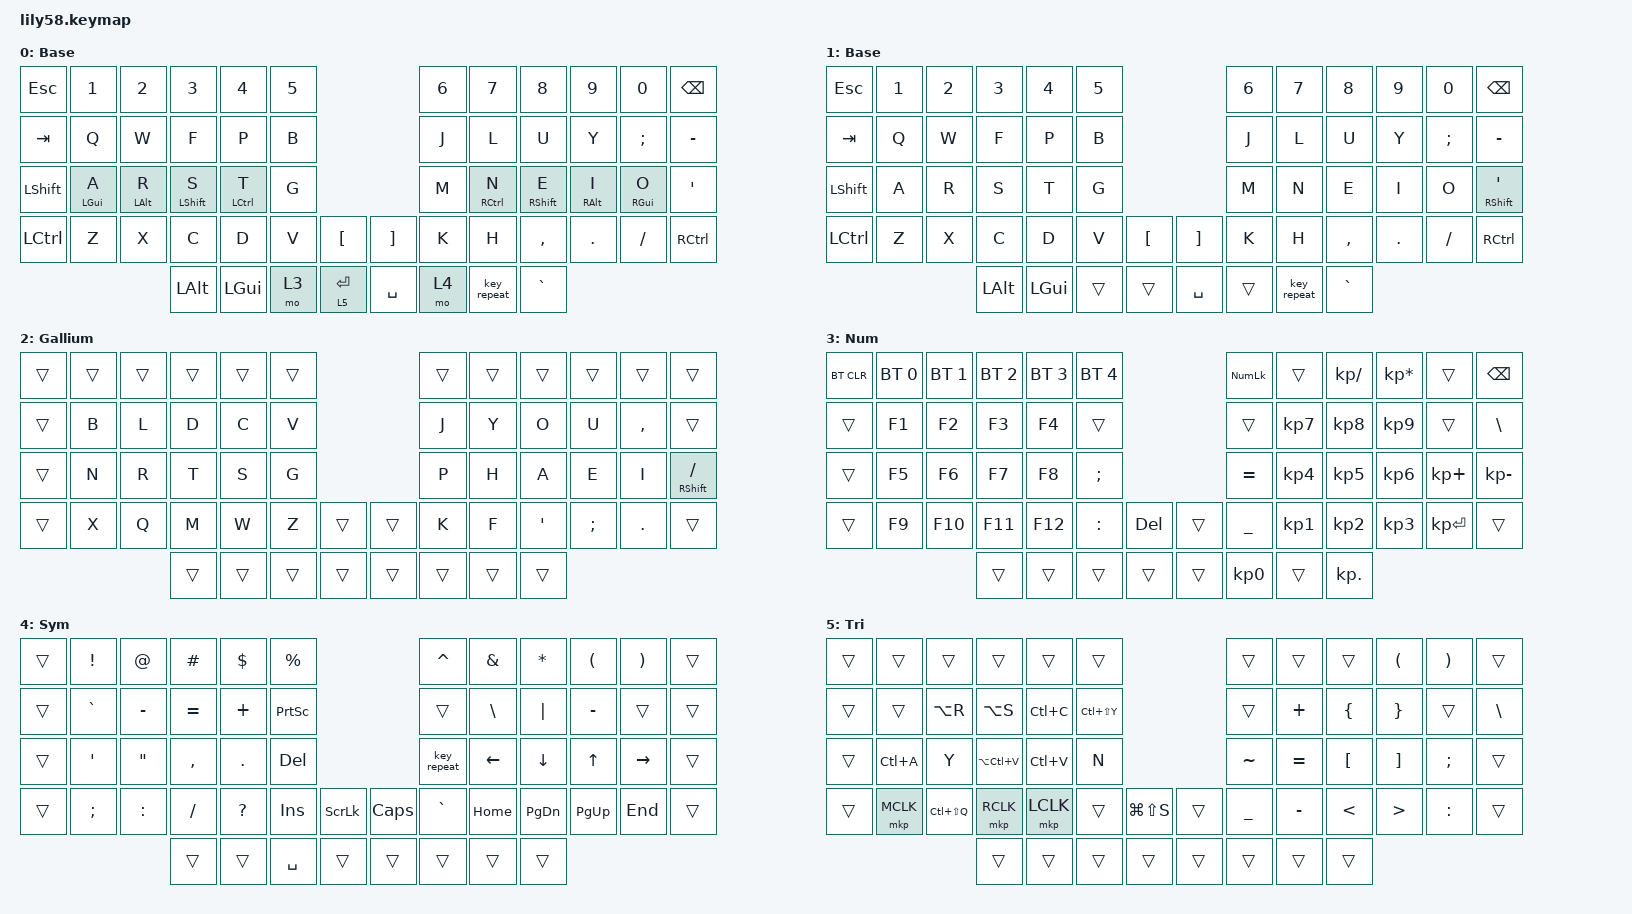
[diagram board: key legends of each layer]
/*
 * Copyright (c) 2020 The ZMK Contributors
 *
 * SPDX-License-Identifier: MIT
 */

#include <dt-bindings/zmk/mouse.h>
#include <behaviors.dtsi>
#include <dt-bindings/zmk/bt.h>
#include <dt-bindings/zmk/keys.h>
#include <dt-bindings/zmk/pointing.h>

/ {
    combos {
        compatible = "zmk,combos";

        win_l {
            bindings = <&kp RG(L)>;
            key-positions = <23 22>;
            layers = <0 1 2>;
            require-prior-idle-ms = <500>;
            timeout-ms = <250>;
        };

        tog_hrm {
            bindings = <&tog 1>;
            key-positions = <49 36>;
            layers = <0 1>;
        };

        tog_gall {
            bindings = <&tog 2>;
            key-positions = <52 55>;
            layers = <0 1 2>;
        };
    };

    behaviors {
        hrm: hrm {
            compatible = "zmk,behavior-hold-tap";
            label = "HRM";
            bindings = <&kp>, <&kp>;

            #binding-cells = <2>;
            tapping-term-ms = <200>;
            quick-tap-ms = <0>;
            flavor = "balanced";
            require-prior-idle-ms = <100>;
        };

        lh_pht: lh_pht {
            compatible = "zmk,behavior-hold-tap";
            label = "LH_PHT";
            bindings = <&kp>, <&kp>;

            #binding-cells = <2>;
            tapping-term-ms = <150>;
            quick-tap-ms = <200>;
            hold-trigger-key-positions = <6 7 8 9 10 6 7 8 9 10 11 18 19 20 21 22 23 30 31 32 33 34 35 44 45 46 47 48 49 55 56 57 43 54>;
            flavor = "tap-unless-interrupted";
            require-prior-idle-ms = <125>;
        };

        rh_pht: rh_pht {
            compatible = "zmk,behavior-hold-tap";
            label = "RH_PHT";
            bindings = <&kp>, <&kp>;

            #binding-cells = <2>;
            tapping-term-ms = <150>;
            quick-tap-ms = <200>;
            flavor = "tap-unless-interrupted";
            hold-trigger-key-positions = <0 1 2 3 4 5 12 13 14 15 16 17 24 25 26 27 28 29 36 37 38 39 40 41 42 50 51 52 53>;
            require-prior-idle-ms = <125>;
        };

        tp_hrm: tp_hrm {
            compatible = "zmk,behavior-hold-tap";
            label = "Tap-Preferred HRM";
            bindings = <&kp>, <&kp>;

            #binding-cells = <2>;
            tapping-term-ms = <175>;
            flavor = "tap-preferred";
        };

        bt_ht: bt_ht {
            compatible = "zmk,behavior-hold-tap";
            label = "BT Hold Tap";
            bindings = <&bt>, <&kp>;

            #binding-cells = <2>;
            tapping-term-ms = <2000>;
            flavor = "tap-preferred";
        };
    };

    keymap {
        compatible = "zmk,keymap";

        default_layer {
            // ------------------------------------------------------------------------------------------------------------
            // |  ESC  |  1  |  2  |  3   |  4   |  5   |                   |  6   |  7    |  8    |  9   |   0   |   `   |
            // |  TAB  |  Q  |  W  |  E   |  R   |  T   |                   |  Y   |  U    |  I    |  O   |   P   |   -   |
            // |  CTRL |  A  |  S  |  D   |  F   |  G   |                   |  H   |  J    |  K    |  L   |   ;   |   '   |
            // | SHIFT |  Z  |  X  |  C   |  V   |  B   |   "["  |  |  "]"  |  N   |  M    |  ,    |  .   |   /   | SHIFT |
            //                     | ALT  | GUI  | LOWER|  SPACE |  | ENTER | RAISE| BSPC  | GUI   |

            display-name = "Base";
            bindings = <
&kp ESC         &kp N1           &kp N2           &kp N3                &kp N4                  &kp N5                            &kp N6  &kp N7                   &kp N8                 &kp N9            &kp N0            &kp BACKSPACE
&kp TAB         &kp Q            &kp W            &kp F                 &kp P                   &kp B                             &kp J   &kp L                    &kp U                  &kp Y             &kp SEMICOLON     &kp MINUS
&kp LEFT_SHIFT  &hrm LEFT_GUI A  &hrm LEFT_ALT R  &tp_hrm LEFT_SHIFT S  &tp_hrm LEFT_CONTROL T  &kp G                             &kp M   &tp_hrm RIGHT_CONTROL N  &tp_hrm RIGHT_SHIFT E  &hrm RIGHT_ALT I  &hrm RIGHT_GUI O  &kp APOS
&kp LCTRL       &kp Z            &kp X            &kp C                 &kp D                   &kp V   &kp LBKT       &kp RBKT   &kp K   &kp H                    &kp COMMA              &kp DOT           &kp FSLH          &kp RCTRL
                                                  &kp LALT              &kp LEFT_GUI            &mo 3   &lt 5 ENTER    &kp SPACE  &mo 4   &key_repeat              &kp GRAVE
            >;
        };

        no_hrm {
            display-name = "Base";
            bindings = <
&kp ESC         &kp N1  &kp N2  &kp N3    &kp N4        &kp N5                         &kp N6  &kp N7       &kp N8     &kp N9   &kp N0         &kp BACKSPACE
&kp TAB         &kp Q   &kp W   &kp F     &kp P         &kp B                          &kp J   &kp L        &kp U      &kp Y    &kp SEMICOLON  &kp MINUS
&kp LEFT_SHIFT  &kp A   &kp R   &kp S     &kp T         &kp G                          &kp M   &kp N        &kp E      &kp I    &kp O          &tp_hrm RSHFT SQT
&kp LCTRL       &kp Z   &kp X   &kp C     &kp D         &kp V   &kp LBKT    &kp RBKT   &kp K   &kp H        &kp COMMA  &kp DOT  &kp FSLH       &kp RCTRL
                                &kp LALT  &kp LEFT_GUI  &trans  &trans      &kp SPACE  &trans  &key_repeat  &kp GRAVE
            >;

            label = "NoHRM";
        };

        gall_layer {
            bindings = <
&trans  &trans  &trans  &trans  &trans  &trans                    &trans  &trans  &trans    &trans    &trans     &trans
&trans  &kp B   &kp L   &kp D   &kp C   &kp V                     &kp J   &kp Y   &kp O     &kp U     &kp COMMA  &trans
&trans  &kp N   &kp R   &kp T   &kp S   &kp G                     &kp P   &kp H   &kp A     &kp E     &kp I      &tp_hrm RSHFT SLASH
&trans  &kp X   &kp Q   &kp M   &kp W   &kp Z   &trans    &trans  &kp K   &kp F   &kp APOS  &kp SEMI  &kp DOT    &trans
                        &trans  &trans  &trans  &trans    &trans  &trans  &trans  &trans
            >;

            label = "Gallium";
        };

        num_layer {
            display-name = "Num";
            bindings = <
&bt BT_CLR  &bt BT_SEL 0  &bt BT_SEL 1  &bt BT_SEL 2  &bt BT_SEL 3  &bt BT_SEL 4                      &kp KP_NUMLOCK  &trans     &kp KP_SLASH  &kp KP_ASTERISK  &trans        &kp BACKSPACE
&trans      &kp F1        &kp F2        &kp F3        &kp F4        &trans                            &trans          &kp KP_N7  &kp KP_N8     &kp KP_N9        &trans        &kp BACKSLASH
&trans      &kp F5        &kp F6        &kp F7        &kp F8        &kp SEMICOLON                     &kp EQUAL       &kp KP_N4  &kp KP_N5     &kp KP_N6        &kp KP_PLUS   &kp KP_MINUS
&trans      &kp F9        &kp F10       &kp F11       &kp F12       &kp COLON      &kp DEL    &trans  &kp UNDER       &kp KP_N1  &kp KP_N2     &kp KP_N3        &kp KP_ENTER  &trans
                                        &trans        &trans        &trans         &trans     &trans  &kp KP_N0       &trans     &kp KP_DOT
            >;

            label = "Num";
        };

        sym_layer {
            display-name = "Sym";
            bindings = <
&trans  &kp EXCL          &kp AT     &kp HASH   &kp DOLLAR    &kp PERCENT                                      &kp CARET    &kp AMPS       &kp ASTERISK  &kp LPAR   &kp RPAR   &trans
&trans  &kp GRAVE         &kp MINUS  &kp EQUAL  &kp PLUS      &kp PRINTSCREEN                                  &trans       &kp BACKSLASH  &kp PIPE      &kp MINUS  &trans     &trans
&trans  &kp SINGLE_QUOTE  &kp DQT    &kp COMMA  &kp DOT       &kp DELETE                                       &key_repeat  &kp LEFT       &kp DOWN      &kp UP     &kp RIGHT  &trans
&trans  &kp SEMI          &kp COLON  &kp SLASH  &kp QUESTION  &kp INSERT       &kp SCROLLLOCK    &kp CAPSLOCK  &kp GRAVE    &kp HOME       &kp PG_DN     &kp PG_UP  &kp END    &trans
                                     &trans     &trans        &kp SPACE        &trans            &trans        &trans       &trans         &trans
            >;

            label = "Sym";
        };

        tri_layer {
            label = "Tri";
            bindings = <
&trans  &trans     &trans         &trans         &trans     &trans                                  &trans     &trans     &trans            &kp LPAR           &kp RPAR   &trans
&trans  &trans     &kp LA(R)      &kp LA(S)      &kp LC(C)  &kp LC(LS(Y))                           &trans     &kp PLUS   &kp LEFT_BRACE    &kp RIGHT_BRACE    &trans     &kp BACKSLASH
&trans  &kp LC(A)  &kp Y          &kp LA(LC(V))  &kp LC(V)  &kp N                                   &kp TILDE  &kp EQUAL  &kp LEFT_BRACKET  &kp RIGHT_BRACKET  &kp SEMI   &trans
&trans  &mkp MCLK  &kp LC(LS(Q))  &mkp RCLK      &mkp LCLK  &trans         &kp LG(LS(S))    &trans  &kp UNDER  &kp MINUS  &kp LT            &kp GT             &kp COLON  &trans
                                  &trans         &trans     &trans         &trans           &trans  &trans     &trans     &trans
            >;
        };
    };

    conditional_layers { compatible = "zmk,conditional-layers"; };
};
